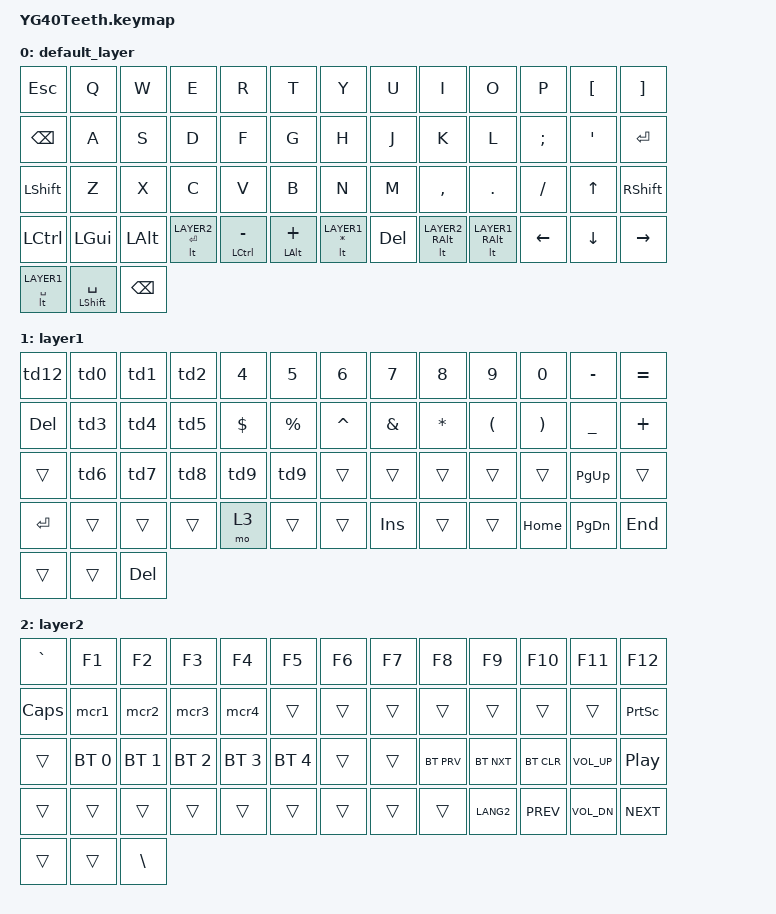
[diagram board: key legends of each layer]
/*
 * Copyright (c) 2020 The ZMK Contributors
 *
 * SPDX-License-Identifier: MIT
pin matrix changed
 */

#include <behaviors.dtsi>
#include <dt-bindings/zmk/keys.h>
#include <dt-bindings/zmk/bt.h>

#define DEFAULT_LAYER  0
#define LAYER1 1
#define LAYER2 2

/ {

behaviors {
    lt: layer_tap {
        compatible = "zmk,behavior-hold-tap";
        quick-tap-ms = <170>;
        flavor = "balanced";
        };
};


behaviors {
        ht: hold_tap {
            compatible = "zmk,behavior-hold-tap";
            #binding-cells = <2>;
            tapping-term-ms = <190>;
            quick-tap-ms = <170>;
            require-prior-idle-ms = <150>;
            flavor = "balanced";
            bindings = <&kp>, <&kp>;
        };
    };

 behaviors {
        bhm: balanced_homerow_mods {
            compatible = "zmk,behavior-hold-tap";
            #binding-cells = <2>;
            tapping-term-ms = <190>;
            quick-tap-ms = <170>;
            flavor = "balanced";
            bindings = <&kp>, <&kp>;
        };
    };

behaviors {
        td0: tap_dance_0 {
            compatible = "zmk,behavior-tap-dance";
            #binding-cells = <0>;
            tapping-term-ms = <230>;
            bindings = <&kp N1>, <&kp EXCL>;
            };
       };

behaviors {
        td1: tap_dance_1 {
            compatible = "zmk,behavior-tap-dance";
            #binding-cells = <0>;
            tapping-term-ms = <230>;
            bindings = <&kp N2>, <&kp AT>;
            };
       };

behaviors {
        td2: tap_dance_2 {
            compatible = "zmk,behavior-tap-dance";
            #binding-cells = <0>;
            tapping-term-ms = <230>;
            bindings = <&kp N3>, <&kp HASH>;
            };
       };

behaviors {
        td3: tap_dance_3 {
            compatible = "zmk,behavior-tap-dance";
            #binding-cells = <0>;
            tapping-term-ms = <230>;
            bindings = <&kp N4>, <&kp DLLR>;
            };
       };

behaviors {
        td4: tap_dance_4 {
            compatible = "zmk,behavior-tap-dance";
            #binding-cells = <0>;
            tapping-term-ms = <230>;
            bindings = <&kp N5>, <&kp PRCNT>;
            };
       };

behaviors {
        td5: tap_dance_5 {
            compatible = "zmk,behavior-tap-dance";
            #binding-cells = <0>;
            tapping-term-ms = <230>;
            bindings = <&kp N6>, <&kp CARET>;
            };
       };

behaviors {
        td6: tap_dance_6 {
            compatible = "zmk,behavior-tap-dance";
            #binding-cells = <0>;
            tapping-term-ms = <230>;
            bindings = <&kp N7>, <&kp AMPS>;
            };
       };

behaviors {
        td7: tap_dance_7 {
            compatible = "zmk,behavior-tap-dance";
            #binding-cells = <0>;
            tapping-term-ms = <230>;
            bindings = <&kp N8>, <&kp STAR>;
            };
       };

behaviors {
        td8: tap_dance_8 {
            compatible = "zmk,behavior-tap-dance";
            #binding-cells = <0>;
            tapping-term-ms = <230>;
            bindings = <&kp N9>, <&kp LPAR>;
            };
       };

behaviors {
        td9: tap_dance_9 {
            compatible = "zmk,behavior-tap-dance";
            #binding-cells = <0>;
            tapping-term-ms = <230>;
            bindings = <&kp N0>, <&kp RPAR>;
            };
       };

behaviors {
        td10: tap_dance_10 {
            compatible = "zmk,behavior-tap-dance";
            #binding-cells = <0>;
            tapping-term-ms = <230>;
            bindings = <&kp LBKT>, <&kp MINUS>, <&kp UNDER>;
            };
       };
behaviors {
        td11: tap_dance_11 {
            compatible = "zmk,behavior-tap-dance";
            #binding-cells = <0>;
            tapping-term-ms = <230>;
            bindings = <&kp RBKT>, <&kp EQUAL>, <&kp PLUS>;
            };
       };

behaviors {
        td12: tap_dance_12 {
            compatible = "zmk,behavior-tap-dance";
            #binding-cells = <0>;
            tapping-term-ms = <230>;
            bindings = <&kp TAB>, <&kp TILDE>, <&kp GRAVE>;
            };
       };

combos
{
        compatible = "zmk,combos";
        combo_tab {
            timeout-ms = <50>;
            key-positions = <0 13>;
            bindings = <&kp TAB>;
            };

         combo_tilde {
            timeout-ms = <50>;
            key-positions = <0 1>;
            bindings = <&kp TILDE>;
            };

        combo_1 {
            timeout-ms = <50>;
            key-positions = <1 14>;
            bindings = <&kp N1>;
            };

        combo_2 {
            timeout-ms = <50>;
            key-positions = <2 15>;
            bindings = <&kp N2>;
            };

        combo_3 {
            timeout-ms = <50>;
            key-positions = <3 16>;
            bindings = <&kp N3>;
            };

        combo_4 {
            timeout-ms = <50>;
            key-positions = <4 17>;
            bindings = <&kp N4>;
            };

        combo_5 {
            timeout-ms = <50>;
            key-positions = <5 18>;
            bindings = <&kp N5>;
            };

        combo_6 {
            timeout-ms = <50>;
            key-positions = <6 19>;
            bindings = <&kp N6>;
            };

        combo_7 {
            timeout-ms = <50>;
            key-positions = <7 20>;
            bindings = <&kp N7>;
            };

        combo_8 {
            timeout-ms = <50>;
            key-positions = <8 21>;
            bindings = <&kp N8>;
            };

        combo_9 {
            timeout-ms = <50>;
            key-positions = <9 22>;
            bindings = <&kp N9>;
            };

        combo_10 {
            timeout-ms = <50>;
            key-positions = <10 23>;
            bindings = <&kp N0>;
            };

         combo_11 {
            timeout-ms = <50>;
            key-positions = <11 24>;
            bindings = <&kp MINUS>;
            };

        combo_12 {
            timeout-ms = <50>;
            key-positions = <12 25>;
            bindings = <&kp EQUAL>;
            };

        combo_exc {
            timeout-ms = <50>;
            key-positions = <14 27>;
            bindings = <&kp EXCL>;
            };

        combo_at {
            timeout-ms = <50>;
            key-positions = <15 28>;
            bindings = <&kp AT>;
            };

       combo_hash {
            timeout-ms = <50>;
            key-positions = <16 29>;
            bindings = <&kp HASH>;
            };

        combo_dllr {
            timeout-ms = <50>;
            key-positions = <17 30>;
            bindings = <&kp DLLR>;
            };

        combo_prcnt {
            timeout-ms = <50>;
            key-positions = <18 31>;
            bindings = <&kp PRCNT>;
            };

        combo_caret {
            timeout-ms = <50>;
            key-positions = <19 32>;
            bindings = <&kp CARET>;
            };

        combo_amps {
            timeout-ms = <50>;
            key-positions = <20 33>;
            bindings = <&kp AMPS>;
            };

        combo_star {
            timeout-ms = <50>;
            key-positions = <21 34>;
            bindings = <&kp STAR>;
            };

        combo_lpar {
            timeout-ms = <50>;
            key-positions = <22 35>;
            bindings = <&kp LPAR>;
            };

        combo_rpar {
            timeout-ms = <50>;
            key-positions = <23 36>;
            bindings = <&kp RPAR>;
            };

        combo_minus {
            timeout-ms = <50>;
            key-positions = <24 37>;
            bindings = <&kp UNDER>;
            };

        combo_equal {
            timeout-ms = <50>;
            key-positions = <25 38>;
            bindings = <&kp PLUS>;
            };

        combo_reboot {
            timeout-ms = <50>;
            key-positions = <0 54>;
            bindings = <&sys_reset>;
            };
};

macros 
{
      mcr1: mcr1
      {
            compatible = "zmk,behavior-macro";
            #binding-cells = <0>;
            bindings = <&macro_tap &kp H &kp E &kp L &kp L &kp O &kp N2 &kp K &kp U &kp N>;
      };

      mcr2: mcr2 
      {
            compatible = "zmk,behavior-macro";
            #binding-cells = <0>;
            bindings = <&macro_tap &kp B &kp A &kp B &kp O &kp N0 &kp N9 &kp N7 &kp N9>
                     , <&macro_press &kp LSHFT>
                     , <&macro_tap &kp N1 &kp N2>
                     , <&macro_release &kp LSHFT>;
      };

      mcr3: mcr3
      {
            compatible = "zmk,behavior-macro";
            #binding-cells = <0>;
            bindings
                = <&macro_tap &kp R &kp M &kp S &kp N0 &kp N9 &kp N7 &kp N9>
                , <&macro_press &kp LSHFT>
                , <&macro_tap &kp N1 &kp N2>
                , <&macro_release &kp LSHFT>;
      };

      mcr4: mcr4
      {
            compatible = "zmk,behavior-macro";
            #binding-cells = <0>;
            bindings
                = <&macro_press &kp LSHFT>,
                <&macro_tap &kp N2>,
                <&macro_release &kp LSHFT>,

                <&macro_tap &kp LBKT>,

                <&macro_press &kp LSHFT>,
                <&macro_tap &kp T &kp A &kp SEMI>,
                <&macro_release &kp LSHFT>,

                <&macro_tap &kp RALT &kp Q &kp K &kp R &kp D &kp L &kp R &kp M &kp S &kp RBKT &kp SPACE>;
      };
};

    keymap {
        compatible = "zmk,keymap";

        default_layer {
            bindings = <
//C0             C1            C2         C3              C4               C5              C6                C7         C8               C9               C10        C11         C12        
&kp ESC          &kp Q         &kp W      &kp E           &kp R            &kp T           &kp Y             &kp U      &kp I            &kp O            &kp P      &kp LBKT    &kp RBKT 
&kp BSPC         &kp A         &kp S      &kp D           &kp F            &kp G           &kp H             &kp J      &kp K            &kp L            &kp SEMI   &kp APOS    &kp RET
&kp LSHFT        &kp Z         &kp X      &kp C           &kp V            &kp B           &kp N             &kp M      &kp COMMA        &kp DOT          &kp FSLH   &kp UP      &kp RSHFT
&kp LCTRL        &kp LGUI      &kp LALT   &lt LAYER2 RET  &bhm LCTRL MINUS &bhm LALT PLUS  &lt LAYER1 STAR   &kp DEL    &lt LAYER2 RALT  &lt LAYER1 RALT  &kp LEFT   &kp DOWN    &kp RIGHT
&lt LAYER1 SPACE &ht LSHIFT SPACE &kp BSPC
            >;
        };

        layer1 {
            bindings = <
//C0        C1        C2        C3        C4        C5        C6        C7        C8         C9        C10        C11          C12      
&td12       &td0      &td1      &td2      &kp N4    &kp N5    &kp N6    &kp N7    &kp N8     &kp N9    &kp N0     &kp MINUS    &kp EQUAL 
&kp DEL     &td3      &td4      &td5      &kp DLLR  &kp PRCNT &kp CARET &kp AMPS  &kp STAR   &kp LPAR  &kp RPAR   &kp UNDER    &kp PLUS
&trans      &td6      &td7      &td8      &td9      &td9      &trans    &trans    &trans     &trans    &trans     &kp PG_UP    &trans
&kp RET     &trans    &trans    &trans    &mo 3     &trans    &trans    &kp INS   &trans     &trans    &kp HOME   &kp PG_DN    &kp END
&trans      &trans    &kp DEL
            >;
        };

        layer2 {
            bindings = <
//C0      C1           C2           C3           C4           C5           C6        C7        C8         C9         C10         C11          C12     
&kp GRAVE &kp F1       &kp F2       &kp F3       &kp F4       &kp F5       &kp F6    &kp F7    &kp F8     &kp F9     &kp F10     &kp F11      &kp F12
&kp CAPS  &mcr1        &mcr2        &mcr3        &mcr4        &trans       &trans    &trans    &trans     &trans     &trans      &trans       &kp PSCRN 
&trans    &bt BT_SEL 0 &bt BT_SEL 1 &bt BT_SEL 2 &bt BT_SEL 3 &bt BT_SEL 4 &trans    &trans    &bt BT_PRV &bt BT_NXT &bt BT_CLR  &kp C_VOL_UP &kp C_PP 
&trans    &trans       &trans       &trans       &trans       &trans       &trans    &trans    &trans     &kp LANG2  &kp C_PREV  &kp C_VOL_DN &kp C_NEXT
&trans    &trans       &kp BSLH
            >;
        };
    }; 
}; 
//55keys
